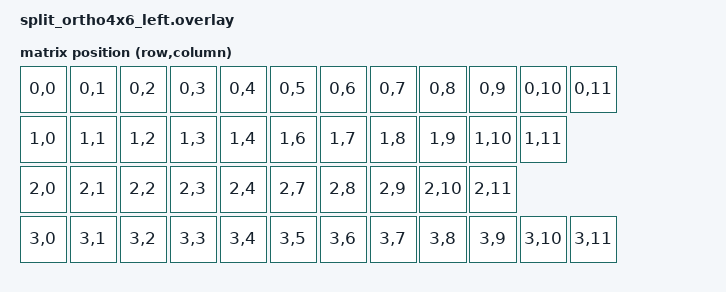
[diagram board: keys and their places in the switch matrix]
#include <dt-bindings/zmk/matrix_transform.h>
// #include <input/processors.dtsi>  <-- ★ この行は akdk_bt1.overlay に移動したので削除
#include <dt-bindings/zmk/input_transform.h>
#include "layouts.dtsi"

/ {
    chosen {
        zmk,physical-layout = &physical_layout0;
    };

    default_transform: keymap_transform_0 {
        compatible = "zmk,matrix-transform";
        columns = <12>;
        rows = <4>;
        map = <
            RC(0,0) RC(0,1) RC(0,2) RC(0,3) RC(0,4) RC(0,5) RC(0,6) RC(0,7) RC(0,8) RC(0,9) RC(0,10) RC(0,11)
            RC(1,0) RC(1,1) RC(1,2) RC(1,3) RC(1,4) RC(1,6) RC(1,7) RC(1,8) RC(1,9) RC(1,10) RC(1,11)
            RC(2,0) RC(2,1) RC(2,2) RC(2,3) RC(2,4) RC(2,7) RC(2,8) RC(2,9) RC(2,10) RC(2,11)
            RC(3,0) RC(3,1) RC(3,2) RC(3,3) RC(3,4) RC(3,5) RC(3,6) RC(3,7) RC(3,8) RC(3,9) RC(3,10) RC(3,11)
        >;
    };

    i2c0_trackpad: i2c0_trackpad {
        compatible = "zmk,input-i2c";
        reg = <0>;
        // IQS7211E
        device = <&i2c0_iqs7211e>;
        status = "okay";
    };

    trackpad_split: trackpad_split {
        compatible = "zmk,input-split";
        reg = <0>;
        device = <&i2c0_trackpad>;
        
        // IQS7211E ドライバ (iqs7211e) の別名
        trackpad: trackpad@0 {
            compatible = "zmk,input-split";
            reg = <0>;
            device = <&i2c0_iqs7211e>;
            
            // --- ここからジェスチャー機能の追加 ---
            input-processors = <
                // ジェスチャー処理を最初に行います
                &zip_gestures 
                
                // 絶対座標を相対座標に変換
                &zip_absolute_to_relative
                
                // XY軸の入れ替えと反転（トラックパッドの向きに合わせて調整してください）
                // (INPUT_TRANSFORM_NONE) にすると無変換になります。
                &zip_xy_transform (INPUT_TRANSFORM_XY_SWAP | INPUT_TRANSFORM_Y_INVERT) 
                
                // 標準のポインティング処理
                &zip_pointer
            >;
            // --- ここまでジェスチャー機能の追加 ---
        };
    };

};


&physical_layout0 {
    kscan = <&kscan0>;
    transform = <&default_transform>;
};

&pinctrl {
    i2c0_default: i2c0_default {
        group1 {
            psels = <NRF_PSEL(TWIM_SDA, 0, 12)>,
                    <NRF_PSEL(TWIM_SCL, 1, 9)>;
            bias-pull-up;
        };
    };

    i2c0_sleep: i2c0_sleep {
        group1 {
            psels = <NRF_PSEL(TWIM_SDA, 0, 12)>,
                    <NRF_PSEL(TWIM_SCL, 1, 9)>;
            bias-pull-up;
            low-power-enable;
        };
    };
};

&i2c0 {
    status = "okay";
    compatible = "nordic,nrf-twim";
    pinctrl-0 = <&i2c0_default>;
    pinctrl-1 = <&i2c0_sleep>;

    // IQS7211Eのノード定義
    i2c0_iqs7211e: iqs7211e@74 {
        compatible = "sekigon,iqs7211e";
        reg = <0x74>;
        label = "IQS7211E";
        irq-gpios = <&gpio0 13 (GPIO_PULL_UP | GPIO_ACTIVE_LOW)>;
        status = "okay";
    };
};
